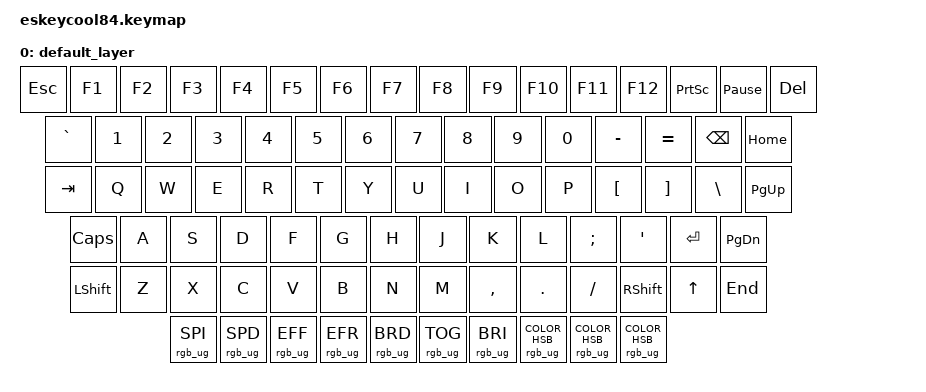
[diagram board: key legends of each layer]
/*
 * Copyright (c) 2021 The ZMK Contributors
 *
 * SPDX-License-Identifier: MIT
 */
 
#include <behaviors.dtsi>
#include <dt-bindings/zmk/keys.h>
#include <dt-bindings/zmk/bt.h>
#include <dt-bindings/zmk/outputs.h>


/ {
    keymap {
        compatible = "zmk,keymap";

        default_layer {
            // ------------------------------------------------------------------------------------------
            // |  ESC  |  F1  |  F2  |  F3  |  F4  |  F5  |   F6  |  F7   |  F8  |  F9  |   F10 |   F11 |   F12 | PrtSC | Pause | Del   |
            // |  `~   |  1   |  2   |  3   |  4   |  5   |   6   |  7    |  8   |  9   |   0   | BSPC  |
            // |  TAB  |  Q   |  W   |  E   |  R   |  T   |   Y   |  U    |  I   |  O   |   P   |  \    |
            // | SHIFT |  A   |  S   |  D   |  F   |  G   |   H   |  J    |  K   |  L   |   ;   |  '    |
            // | CTRL  |  Z   |  X   |  C   |  V   |  B   |   N   |  M    |  ,   |  .   |   /   | ENTER |
            // |ADJUST | LCTL | LALT | LGUI | LOWR | SPACE| SPACE |  RAIS | LARW | DARW | UARW  | RARW  |

            bindings = <
         &kp ESC           &kp F1           &kp F2           &kp F3           &kp F4           &kp F5           &kp F6                           &kp F7                             &kp F8                             &kp F9        &kp F10           &kp F11            &kp F12  &kp PRINTSCREEN  &kp PAUSE_BREAK  &kp DELETE
       &kp GRAVE     &kp NUMBER_1     &kp NUMBER_2     &kp NUMBER_3     &kp NUMBER_4     &kp NUMBER_5     &kp NUMBER_6                     &kp NUMBER_7                       &kp NUMBER_8                       &kp NUMBER_9   &kp NUMBER_0         &kp MINUS          &kp EQUAL    &kp BACKSPACE         &kp HOME
         &kp TAB            &kp Q            &kp W            &kp E            &kp R            &kp T            &kp Y                            &kp U                              &kp I                              &kp O          &kp P  &kp LEFT_BRACKET  &kp RIGHT_BRACKET    &kp BACKSLASH      &kp PAGE_UP
        &kp CAPS            &kp A            &kp S            &kp D            &kp F            &kp G            &kp H                            &kp J                              &kp K                              &kp L  &kp SEMICOLON  &kp SINGLE_QUOTE          &kp ENTER    &kp PAGE_DOWN
  &kp LEFT_SHIFT            &kp Z            &kp X            &kp C            &kp V            &kp B            &kp N                            &kp M                          &kp COMMA                            &kp DOT      &kp SLASH   &kp RIGHT_SHIFT             &kp UP          &kp END
 &rgb_ug RGB_SPI  &rgb_ug RGB_SPD  &rgb_ug RGB_EFF  &rgb_ug RGB_EFR  &rgb_ug RGB_BRD  &rgb_ug RGB_TOG  &rgb_ug RGB_BRI  &rgb_ug RGB_COLOR_HSB(0,100,50)  &rgb_ug RGB_COLOR_HSB(120,100,50)  &rgb_ug RGB_COLOR_HSB(240,100,50)
            >;
        };
    };
};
